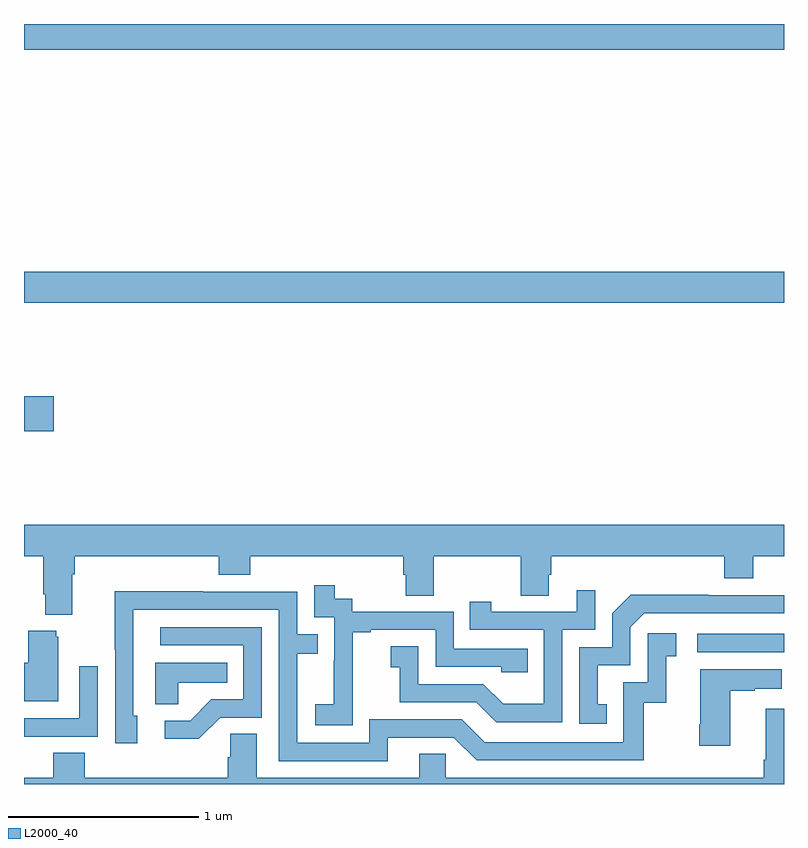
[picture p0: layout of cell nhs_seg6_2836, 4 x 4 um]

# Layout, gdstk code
import gdstk
lib = gdstk.Library(unit=1e-6, precision=1e-09)
def R(c, l, rs):  # rectangles x0, y0, x1, y1
    for r in rs: c.add(gdstk.rectangle(r[:2], r[2:], *l))
def P(c, l, *ps):  # polygons
    for p in ps: c.add(gdstk.Polygon(p, *l))
L2000_40 = (2000, 40)

nhs_seg6_2836 = lib.new_cell('nhs_seg6_2836')
R(nhs_seg6_2836, L2000_40, [(282.543,916.194,283,916.29), (279,917.357,279.157,917.54), (279,918.032,283,918.196), (279,919.364,283,919.5)])
P(nhs_seg6_2836, L2000_40, [(279.253,916.604),(279.266,916.604),(279.266,916.7),(280.025,916.7),(280.025,916.601),(280.19,916.601),(280.19,916.7),(280.997,916.7),(280.997,916.602),(281.009,916.602),(281.009,916.492),(281.157,916.492),(281.157,916.7),(281.614,916.7),(281.614,916.492),(281.761,916.492),(281.761,916.602),(281.774,916.602),(281.774,916.7),(282.686,916.7),(282.686,916.583),(282.838,916.583),(282.838,916.7),(283,916.7),(283,916.864),(279,916.864),(279,916.7),(279.101,916.7),(279.101,916.498),(279.113,916.498),(279.113,916.391),(279.253,916.391)],
  [(280.731,916.015),(280.73,916.015),(280.73,916.299),(280.825,916.299),(280.825,916.311),(281.166,916.311),(281.166,916.116),(281.511,916.116),(281.511,916.089),(281.651,916.089),(281.651,916.212),(281.262,916.212),(281.262,916.407),(280.728,916.407),(280.728,916.476),(280.636,916.476),(280.636,916.546),(280.527,916.546),(280.527,916.377),(280.632,916.377),(280.632,916.148),(280.631,916.148),(280.631,915.919),(280.533,915.919),(280.533,915.809),(280.731,915.809)],
  [(281.832,916.311),(282.006,916.311),(282.006,916.519),(281.909,916.519),(281.909,916.407),(281.458,916.407),(281.458,916.459),(281.347,916.459),(281.347,916.311),(281.736,916.311),(281.736,915.922),(281.522,915.922),(281.418,916.026),(281.076,916.026),(281.076,916.225),(280.929,916.225),(280.929,916.115),(280.978,916.115),(280.978,915.93),(281.381,915.93),(281.486,915.825),(281.832,915.825)],
  [(280.915,915.744),(281.262,915.744),(281.382,915.624),(282.262,915.624),(282.262,915.927),(282.38,915.927),(282.38,916.173),(282.433,916.173),(282.433,916.294),(282.282,916.294),(282.282,916.035),(282.153,916.035),(282.153,915.72),(281.424,915.72),(281.304,915.84),(280.818,915.84),(280.818,915.717),(280.437,915.717),(280.437,916.186),(280.547,916.186),(280.547,916.287),(280.437,916.287),(280.437,916.512),(279.941,916.512),(279.941,916.514),(279.478,916.514),(279.478,916.207),(279.48,916.207),(279.48,915.714),(279.595,915.714),(279.595,915.858),(279.576,915.858),(279.576,916.416),(280.341,916.416),(280.341,915.621),(280.915,915.621)],
  [(282.068,915.921),(282.019,915.921),(282.019,916.125),(282.192,916.125),(282.192,916.326),(282.264,916.398),(283,916.398),(283,916.494),(282.602,916.494),(282.602,916.496),(282.194,916.496),(282.096,916.398),(282.096,916.221),(281.922,916.221),(281.922,915.816),(282.068,915.816)],
  [(280.032,915.849),(280.251,915.849),(280.251,916.326),(279.717,916.326),(279.717,916.23),(280.155,916.23),(280.155,915.945),(279.986,915.945),(279.875,915.834),(279.741,915.834),(279.741,915.737),(279.919,915.737)],
  [(279.181,916.275),(279.17,916.275),(279.17,916.306),(279.023,916.306),(279.023,916.138),(279,916.138),(279,915.935),(279.181,915.935)],
  [(279.813,916.034),(280.07,916.034),(280.07,916.138),(279.692,916.138),(279.692,915.919),(279.813,915.919)],
  [(279.071,915.75),(279.387,915.75),(279.387,916.12),(279.291,916.12),(279.291,915.846),(279,915.846),(279,915.749),(279.071,915.749)],
  [(282.718,915.991),(282.845,915.991),(282.845,916.001),(282.988,916.001),(282.988,916.105),(282.56,916.105),(282.56,915.814),(282.553,915.814),(282.553,915.702),(282.718,915.702)],
  [(283,915.895),(282.905,915.895),(282.905,915.628),(282.893,915.628),(282.893,915.532),(281.22,915.532),(281.22,915.659),(281.081,915.659),(281.081,915.532),(280.225,915.532),(280.225,915.764),(280.086,915.764),(280.086,915.641),(280.073,915.641),(280.073,915.532),(279.32,915.532),(279.32,915.665),(279.155,915.665),(279.155,915.532),(279,915.532),(279,915.5),(283,915.5)])

lib.write_gds('nhs_seg6_2836.gds')
